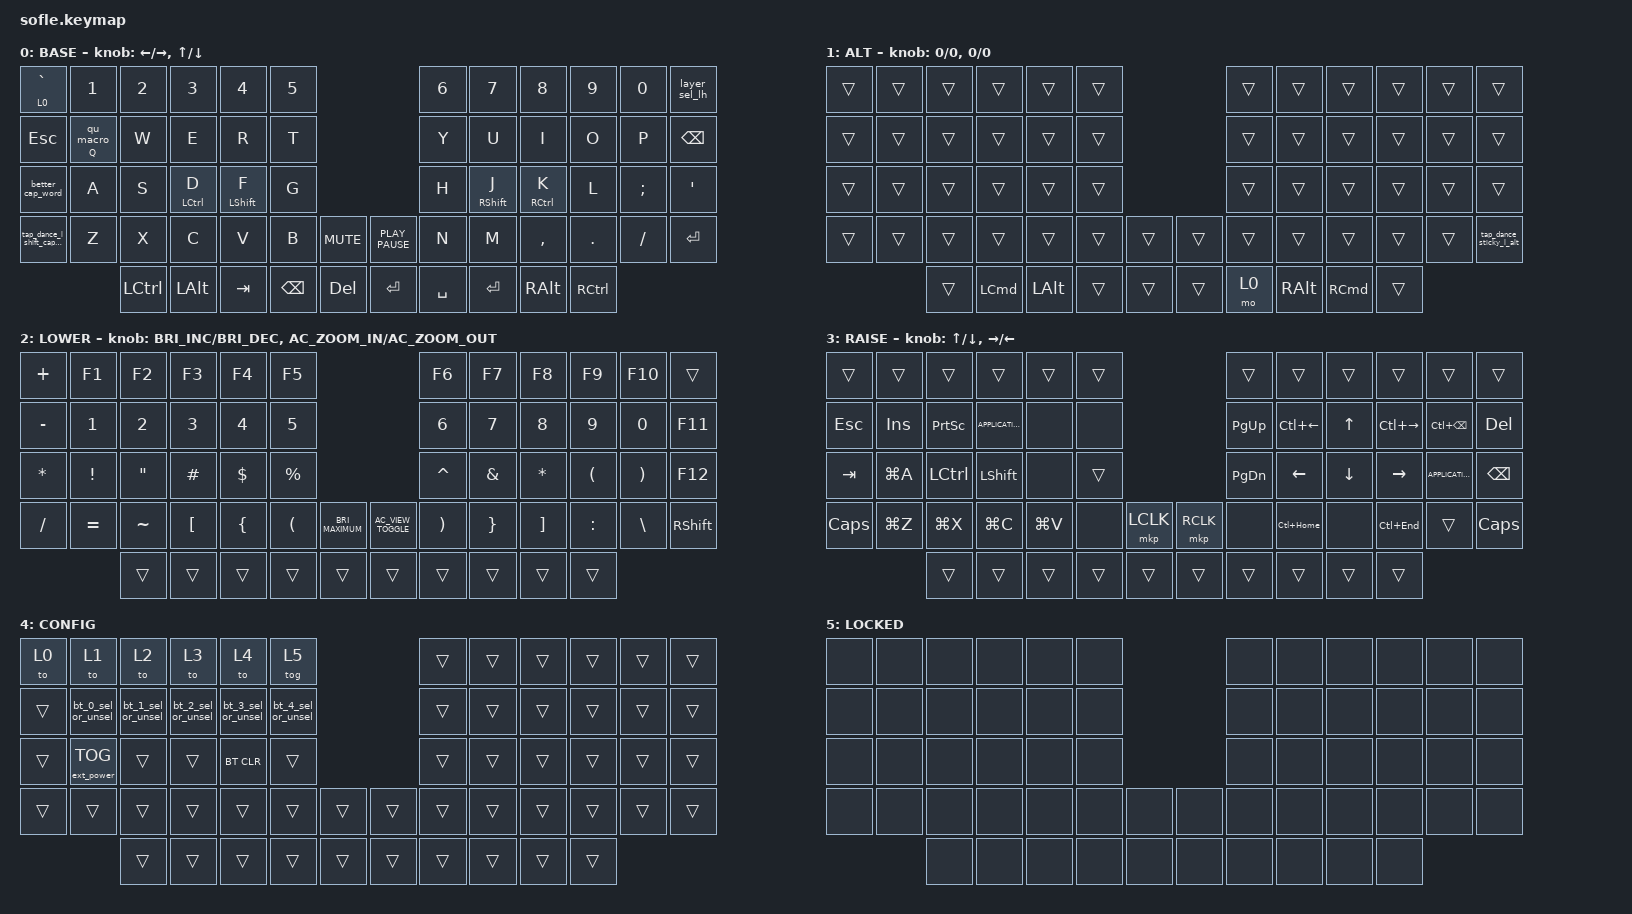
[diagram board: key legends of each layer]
/*
 * Copyright (c) 2020 The ZMK Contributors
 *
 * SPDX-License-Identifier: MIT
 */

#include <dt-bindings/zmk/mouse.h>
#include <behaviors.dtsi>
#include <dt-bindings/zmk/bt.h>
#include <dt-bindings/zmk/ext_power.h>
#include <dt-bindings/zmk/keys.h>
#include <dt-bindings/zmk/outputs.h>
#include <dt-bindings/zmk/pointing.h>

&mt {
    tapping-term-ms = <300>;
    flavor = "tap-preferred";
};

/ {
    behaviors {
        better_cap_word: better_cap_word {
            compatible = "zmk,behavior-caps-word";
            #binding-cells = <0>;
            continue-list = <A B C D E F G H I J K L M N O P Q R S T U V W X Y Z KP_MINUS MINUS BACKSPACE DELETE LEFT_ARROW RIGHT_ARROW UP_ARROW DOWN_ARROW C_VOLUME_UP C_VOLUME_DOWN C_MUTE C_PREVIOUS C_NEXT C_PLAY_PAUSE>;
            mods = <(MOD_LSFT)>;
        };

        sticky_mod: sticky_mod {
            compatible = "zmk,behavior-sticky-key";
            bindings = <&kp>;
            #binding-cells = <1>;
            quick-release;
            release-after-ms = <1000>;
        };

        stickier_layer: stickier_layer {
            compatible = "zmk,behavior-sticky-key";
            bindings = <&mo>;
            #binding-cells = <1>;
            release-after-ms = <3000>;
            quick-release;
        };

        out_tg_or_usb: out_tg_or_usb {
            compatible = "zmk,behavior-mod-morph";
            bindings = <&out OUT_TOG>, <&out OUT_USB>;

            #binding-cells = <0>;
            mods = <(MOD_RSFT|MOD_LSFT)>;
        };

        bt_0_sel_or_unsel: bt_0_sel_or_unsel {
            compatible = "zmk,behavior-mod-morph";
            bindings = <&bt BT_SEL 0>, <&shift_clear_bt0>;

            #binding-cells = <0>;
            mods = <(MOD_RSFT|MOD_LSFT)>;
        };

        bt_1_sel_or_unsel: bt_1_sel_or_unsel {
            compatible = "zmk,behavior-mod-morph";
            bindings = <&bt BT_SEL 1>, <&shift_clear_bt1>;

            #binding-cells = <0>;
            mods = <(MOD_RSFT|MOD_LSFT)>;
        };

        bt_2_sel_or_unsel: bt_2_sel_or_unsel {
            compatible = "zmk,behavior-mod-morph";
            bindings = <&bt BT_SEL 2>, <&shift_clear_bt2>;

            #binding-cells = <0>;
            mods = <(MOD_RSFT|MOD_LSFT)>;
        };

        bt_3_sel_or_unsel: bt_3_sel_or_unsel {
            compatible = "zmk,behavior-mod-morph";
            bindings = <&bt BT_SEL 3>, <&shift_clear_bt3>;

            #binding-cells = <0>;
            mods = <(MOD_RSFT|MOD_LSFT)>;
        };

        bt_4_sel_or_unsel: bt_4_sel_or_unsel {
            compatible = "zmk,behavior-mod-morph";
            bindings = <&bt BT_SEL 4>, <&shift_clear_bt4>;

            #binding-cells = <0>;
            mods = <(MOD_RSFT|MOD_LSFT)>;
        };

        auto_shift_num_row: auto_shift_num_row {
            compatible = "zmk,behavior-hold-tap";
            bindings = <&kp>, <&kp>;

            #binding-cells = <2>;
            flavor = "tap-preferred";
            tapping-term-ms = <500>;
            require-prior-idle-ms = <150>;
            quick-tap-ms = <100>;
        };

        home_row_mods_lh: home_row_mods_lh {
            compatible = "zmk,behavior-hold-tap";
            bindings = <&kp>, <&kp>;

            #binding-cells = <2>;
            tapping-term-ms = <275>;
            quick-tap-ms = <100>;
            flavor = "balanced";
            hold-trigger-key-positions = <6 18 43 55 44 30 7 19 45 31 57 59 46 58 47 32 20 8 9 21 33 48 34 22 10 11 23 49 35 56>;
            require-prior-idle-ms = <200>;
        };

        home_row_mods_rh: home_row_mods_rh {
            compatible = "zmk,behavior-hold-tap";
            bindings = <&kp>, <&kp>;

            #binding-cells = <2>;
            tapping-term-ms = <275>;
            quick-tap-ms = <100>;
            flavor = "balanced";
            hold-trigger-key-positions = <0 12 24 36 37 25 13 1 2 14 26 50 38 39 27 15 3 4 5 17 16 28 29 42 41 40 51 52 54 53>;
            require-prior-idle-ms = <200>;
        };

        thumb_cluster_lh: thumb_cluster_lh {
            compatible = "zmk,behavior-hold-tap";
            bindings = <&mo>, <&kp>;

            #binding-cells = <2>;
            tapping-term-ms = <275>;
            quick-tap-ms = <100>;
            flavor = "balanced";
            hold-trigger-key-positions = <55 43 56 44 30 18 6 7 19 31 57 45 58 46 32 20 8 9 21 33 47 59 48 34 22 10 11 23 35 49>;
        };

        thumb_cluster_rh: thumb_cluster_rh {
            compatible = "zmk,behavior-hold-tap";
            bindings = <&mo>, <&kp>;

            #binding-cells = <2>;
            tapping-term-ms = <275>;
            quick-tap-ms = <100>;
            flavor = "balanced";
            hold-trigger-key-positions = <36 54 0 12 24 37 25 13 1 3 2 14 26 38 50 51 39 27 15 28 16 4 40 52 53 41 29 17 5 42 49 35 23 59 58>;
        };

        thumb_cluster_nav: thumb_cluster_nav {
            compatible = "zmk,behavior-hold-tap";
            bindings = <&mo>, <&kp>;

            #binding-cells = <2>;
            tapping-term-ms = <275>;
            quick-tap-ms = <100>;
            flavor = "balanced";
            hold-trigger-key-positions = <55 43 56 44 30 18 6 7 19 31 57 45 58 46 32 20 8 9 21 33 47 59 48 34 22 10 11 23 35 49 29 28 27 26 25>;
        };

        thumb_cluster_num: thumb_cluster_num {
            compatible = "zmk,behavior-hold-tap";
            bindings = <&mo>, <&kp>;

            #binding-cells = <2>;
            tapping-term-ms = <275>;
            quick-tap-ms = <100>;
            flavor = "balanced";
            hold-trigger-key-positions = <36 54 0 12 24 37 25 13 1 3 2 14 26 38 50 51 39 27 15 28 16 4 40 52 53 41 29 17 5 42 18 18 19 20 21 32 30 31 33 34 22 44 45 46 47 48 49 35 23 59 58>;
        };

        home_row_mods_lh_shift: home_row_mods_lh_shift {
            compatible = "zmk,behavior-hold-tap";
            bindings = <&kp>, <&kp>;

            #binding-cells = <2>;
            tapping-term-ms = <275>;
            quick-tap-ms = <100>;
            flavor = "balanced";
            hold-trigger-key-positions = <6 18 43 55 44 30 7 19 45 31 57 59 46 58 47 32 20 8 9 21 33 48 34 22 10 11 23 49 35 56>;
        };

        home_row_mods_rh_shift: home_row_mods_rh_shift {
            compatible = "zmk,behavior-hold-tap";
            bindings = <&kp>, <&kp>;

            #binding-cells = <2>;
            tapping-term-ms = <275>;
            quick-tap-ms = <100>;
            flavor = "balanced";
            hold-trigger-key-positions = <0 12 24 36 37 25 13 1 2 14 26 50 38 39 27 15 3 4 5 17 16 28 29 42 41 40 51 52 54 53>;
        };

        tap_dance_l_shift_capwords: tap_dance_l_shift_capwords {
            compatible = "zmk,behavior-tap-dance";
            #binding-cells = <0>;
            bindings =
                <&kp LEFT_SHIFT>,
                <&sticky_mod LEFT_SHIFT>,
                <&better_cap_word>;
        };

        tap_dance_sticky_l_ctrl: tap_dance_sticky_l_ctrl {
            compatible = "zmk,behavior-tap-dance";
            #binding-cells = <0>;
            bindings = <&kp LEFT_CONTROL>, <&sticky_mod LEFT_CONTROL>;
        };

        tap_dance_sticky_l_alt: tap_dance_sticky_l_alt {
            compatible = "zmk,behavior-tap-dance";
            #binding-cells = <0>;
            bindings = <&kp LEFT_ALT>, <&sticky_mod LEFT_ALT>;
        };

        layer_num_switch_tap_dance: layer_num_switch_tap_dance {
            compatible = "zmk,behavior-tap-dance";
            #binding-cells = <0>;
            bindings = <&mo 0>, <&stickier_layer 0>, <&tog 0>;
        };

        layer_nav_switch_tap_dance: layer_nav_switch_tap_dance {
            compatible = "zmk,behavior-tap-dance";
            #binding-cells = <0>;
            bindings = <&mo 0>, <&stickier_layer 0>, <&tog 0>;
        };

        auto_shift_bottom_right: auto_shift_bottom_right {
            compatible = "zmk,behavior-hold-tap";
            bindings = <&kp>, <&kp>;

            #binding-cells = <2>;
            flavor = "tap-preferred";
            tapping-term-ms = <500>;
            require-prior-idle-ms = <150>;
            quick-tap-ms = <100>;
        };

        layer_sel_lh: layer_sel_lh {
            compatible = "zmk,behavior-tap-dance";
            #binding-cells = <0>;
            bindings = <&tog 0>, <&tog 2>, <&tog 3>, <&tog 4>, <&tog 5>;
        };

        left_thumb_gui: left_thumb_gui {
            compatible = "zmk,behavior-tap-dance";
            #binding-cells = <0>;
            bindings = <&mo 0>, <&kp LEFT_GUI>;
        };

        num_layer_dot: num_layer_dot {
            compatible = "zmk,behavior-mod-morph";
            bindings = <&kp DOT>, <&kp LEFT_PARENTHESIS>;

            #binding-cells = <0>;
            mods = <(MOD_LSFT|MOD_RSFT)>;
            keep-mods = <(MOD_LSFT|MOD_RSFT)>;
        };

        media_or_config_layer: media_or_config_layer {
            compatible = "zmk,behavior-tap-dance";
            #binding-cells = <0>;
            bindings = <&mo 0>, <&mo 4>;
        };

        mac_like_backspace: mac_like_backspace {
            compatible = "zmk,behavior-mod-morph";
            bindings = <&kp BACKSPACE>, <&kp DELETE>;

            #binding-cells = <0>;
            mods = <(MOD_LSFT|MOD_RSFT)>;
        };

        thumb_th: thumb_th {
            compatible = "zmk,behavior-hold-tap";
            bindings = <&mo>, <&kp>;

            #binding-cells = <2>;
            tapping-term-ms = <275>;
        };

        numpad_switch: numpad_switch {
            compatible = "zmk,behavior-tap-dance";
            #binding-cells = <0>;
            bindings = <&kp KP_NUMLOCK>, <&none>, <&stickier_layer 4>;
        };

        osl_or_hold_layer: osl_or_hold_layer {
            compatible = "zmk,behavior-hold-tap";
            bindings = <&mo>, <&stickier_layer>;

            #binding-cells = <2>;
            tapping-term-ms = <275>;
        };

        tap_dance_r_shift: tap_dance_r_shift {
            compatible = "zmk,behavior-tap-dance";
            #binding-cells = <0>;
            bindings =
                <&kp RIGHT_SHIFT>,
                <&sticky_mod RIGHT_SHIFT>,
                <&better_cap_word>;
        };

        qu_behavior: qu_behavior {
            compatible = "zmk,behavior-hold-tap";
            bindings = <&kp>, <&qu_macro>;

            #binding-cells = <2>;
            tapping-term-ms = <200>;
            flavor = "tap-preferred";
        };
    };

    combos {
        compatible = "zmk,combos";

        single_hand_unlock {
            bindings = <&tog 5>;
            key-positions = <54 28 26>;
            layers = <5>;
            require-prior-idle-ms = <5000>;
            slow-release;
            timeout-ms = <1000>;
        };

        LOWER {
            bindings = <&tog 2>;
            key-positions = <53 41>;
        };

        RAISE {
            bindings = <&tog 3>;
            key-positions = <56 44>;
        };

        P_Backspace_Delete {
            bindings = <&kp DELETE>;
            key-positions = <23 22>;
        };
    };

    macros {
        shift_clear_bt0: shift_clear_bt0 {
            compatible = "zmk,behavior-macro";
            #binding-cells = <0>;
            bindings = <&bt BT_SEL 0 &bt BT_CLR>;
        };

        shift_clear_bt1: shift_clear_bt1 {
            compatible = "zmk,behavior-macro";
            #binding-cells = <0>;
            bindings = <&bt BT_SEL 1 &bt BT_CLR>;
        };

        shift_clear_bt2: shift_clear_bt2 {
            compatible = "zmk,behavior-macro";
            #binding-cells = <0>;
            bindings = <&bt BT_SEL 2 &bt BT_CLR>;
        };

        shift_clear_bt3: shift_clear_bt3 {
            compatible = "zmk,behavior-macro";
            #binding-cells = <0>;
            bindings = <&bt BT_SEL 3 &bt BT_CLR>;
        };

        shift_clear_bt4: shift_clear_bt4 {
            compatible = "zmk,behavior-macro";
            #binding-cells = <0>;
            bindings = <&bt BT_SEL 4 &bt BT_CLR>;
        };

        edit_hotkey: edit_hotkey {
            compatible = "zmk,behavior-macro-two-param";
            #binding-cells = <2>;
            bindings =
                <&macro_press>,
                <&macro_param_1to1 &kp MACRO_PLACEHOLDER>,
                <&macro_tap>,
                <&macro_param_2to1 &kp MACRO_PLACEHOLDER>,
                <&macro_release>,
                <&macro_param_1to1 &kp MACRO_PLACEHOLDER>;
        };

        mods_combo_2_keys: mods_combo_2_keys {
            compatible = "zmk,behavior-macro-two-param";
            #binding-cells = <2>;
            bindings =
                <&macro_press>,
                <&macro_param_1to1 &kp MACRO_PLACEHOLDER &macro_param_2to1 &kp MACRO_PLACEHOLDER>,
                <&macro_pause_for_release>,
                <&macro_release>,
                <&macro_param_2to1 &kp MACRO_PLACEHOLDER &macro_param_1to1 &kp MACRO_PLACEHOLDER>;
        };

        qu_macro: qu_macro {
            compatible = "zmk,behavior-macro";
            #binding-cells = <0>;
            bindings = <&macro_tap>, <&kp Q &kp U>;

            wait-ms = <33>;
            tap-ms = <33>;
        };
    };

    keymap {
        compatible = "zmk,keymap";

        base {
            bindings = <
&lt 0 GRAVE                  &kp NUMBER_1      &kp NUMBER_2  &kp NUMBER_3                      &kp NUMBER_4                          &kp NUMBER_5                                   &kp NUMBER_6  &kp NUMBER_7                           &kp NUMBER_8                       &kp NUMBER_9  &kp NUMBER_0   &layer_sel_lh
&kp ESCAPE                   &qu_behavior Q 0  &kp W         &kp E                             &kp R                                 &kp T                                          &kp Y         &kp U                                  &kp I                              &kp O         &kp P          &kp BACKSPACE
&better_cap_word             &kp A             &kp S         &home_row_mods_lh LEFT_CONTROL D  &home_row_mods_lh_shift LEFT_SHIFT F  &kp G                                          &kp H         &home_row_mods_rh_shift RIGHT_SHIFT J  &home_row_mods_rh RIGHT_CONTROL K  &kp L         &kp SEMICOLON  &kp SQT
&tap_dance_l_shift_capwords  &kp Z             &kp X         &kp C                             &kp V                                 &kp B          &kp K_MUTE    &kp K_PLAY_PAUSE  &kp N         &kp M                                  &kp COMMA                          &kp PERIOD    &kp SLASH      &kp RETURN
                                               &kp LCTRL     &kp LEFT_ALT                      &kp TAB                               &kp BACKSPACE  &kp DELETE    &kp RET           &kp SPACE     &kp RET                                &kp RIGHT_ALT                      &kp RCTRL
            >;

            display-name = "BASE";
            sensor-bindings =
                <&inc_dec_kp LEFT RIGHT>,
                <&inc_dec_kp UP_ARROW DOWN_ARROW>;
        };

        alt {
            bindings = <
&trans  &trans  &trans  &trans            &trans        &trans                    &trans  &trans         &trans             &trans  &trans  &trans
&trans  &trans  &trans  &trans            &trans        &trans                    &trans  &trans         &trans             &trans  &trans  &trans
&trans  &trans  &trans  &trans            &trans        &trans                    &trans  &trans         &trans             &trans  &trans  &trans
&trans  &trans  &trans  &trans            &trans        &trans  &trans    &trans  &trans  &trans         &trans             &trans  &trans  &tap_dance_sticky_l_alt
                &trans  &kp LEFT_COMMAND  &kp LEFT_ALT  &trans  &trans    &trans  &mo 0   &kp RIGHT_ALT  &kp RIGHT_COMMAND  &trans
            >;

            display-name = "ALT";
            sensor-bindings = <&inc_dec_kp 0 0>, <&inc_dec_kp 0 0>;
        };

        lower {
            bindings = <
&kp PLUS      &kp F1        &kp F2             &kp F3            &kp F4          &kp F5                                                                  &kp F6                 &kp F7           &kp F8             &kp F9                &kp F10                &trans
&kp MINUS     &kp NUMBER_1  &kp NUMBER_2       &kp N3            &kp N4          &kp N5                                                                  &kp N6                 &kp N7           &kp N8             &kp N9                &kp N0                 &kp F11
&kp ASTERISK  &kp EXCL      &kp DOUBLE_QUOTES  &kp HASH          &kp DOLLAR      &kp PERCENT                                                             &kp CARET              &kp AMPS         &kp ASTERISK       &kp LEFT_PARENTHESIS  &kp RIGHT_PARENTHESIS  &kp F12
&kp SLASH     &kp EQUAL     &kp TILDE          &kp LEFT_BRACKET  &kp LEFT_BRACE  &kp LEFT_PARENTHESIS  &kp C_BRIGHTNESS_MAXIMUM    &kp C_AC_VIEW_TOGGLE  &kp RIGHT_PARENTHESIS  &kp RIGHT_BRACE  &kp RIGHT_BRACKET  &kp COLON             &kp BSLH               &kp RIGHT_SHIFT
                            &trans             &trans            &trans          &trans                &trans                      &trans                &trans                 &trans           &trans             &trans
            >;

            display-name = "LOWER";
            sensor-bindings =
                <&inc_dec_kp C_BRIGHTNESS_INC C_BRIGHTNESS_DEC>,
                <&inc_dec_kp C_AC_ZOOM_IN C_AC_ZOOM_OUT>;
        };

        raise {
            bindings = <
&trans      &trans     &trans           &trans             &trans     &trans                          &trans         &trans          &trans    &trans           &trans             &trans
&kp ESCAPE  &kp INS    &kp PRINTSCREEN  &kp K_APPLICATION  &none      &none                           &kp PAGE_UP    &kp LC(LEFT)    &kp UP    &kp LC(RIGHT)    &kp LC(BACKSPACE)  &kp DELETE
&kp TAB     &kp LG(A)  &kp LCTRL        &kp LEFT_SHIFT     &none      &trans                          &kp PAGE_DOWN  &kp LEFT_ARROW  &kp DOWN  &kp RIGHT_ARROW  &kp K_APPLICATION  &kp BACKSPACE
&kp CAPS    &kp LG(Z)  &kp LG(X)        &kp LG(C)          &kp LG(V)  &none   &mkp LCLK    &mkp RCLK  &none          &kp LC(HOME)    &none     &kp LC(END)      &trans             &kp CAPS
                       &trans           &trans             &trans     &trans  &trans       &trans     &trans         &trans          &trans    &trans
            >;

            display-name = "RAISE";
            sensor-bindings =
                <&inc_dec_kp UP_ARROW DOWN_ARROW>,
                <&inc_dec_kp RIGHT_ARROW LEFT_ARROW>;
        };

        config {
            bindings = <
&to 0   &to 1               &to 2               &to 3               &to 4               &tog 5                                &trans  &trans  &trans  &trans  &trans  &trans
&trans  &bt_0_sel_or_unsel  &bt_1_sel_or_unsel  &bt_2_sel_or_unsel  &bt_3_sel_or_unsel  &bt_4_sel_or_unsel                    &trans  &trans  &trans  &trans  &trans  &trans
&trans  &ext_power EP_TOG   &trans              &trans              &bt BT_CLR          &trans                                &trans  &trans  &trans  &trans  &trans  &trans
&trans  &trans              &trans              &trans              &trans              &trans              &trans    &trans  &trans  &trans  &trans  &trans  &trans  &trans
                            &trans              &trans              &trans              &trans              &trans    &trans  &trans  &trans  &trans  &trans
            >;

            display-name = "CONFIG";
        };

        lock {
            bindings = <
&none  &none  &none  &none  &none  &none                  &none  &none  &none  &none  &none  &none
&none  &none  &none  &none  &none  &none                  &none  &none  &none  &none  &none  &none
&none  &none  &none  &none  &none  &none                  &none  &none  &none  &none  &none  &none
&none  &none  &none  &none  &none  &none  &none    &none  &none  &none  &none  &none  &none  &none
              &none  &none  &none  &none  &none    &none  &none  &none  &none  &none
            >;

            display-name = "LOCKED";
        };
    };

    conditional_layers { compatible = "zmk,conditional-layers"; };
};
